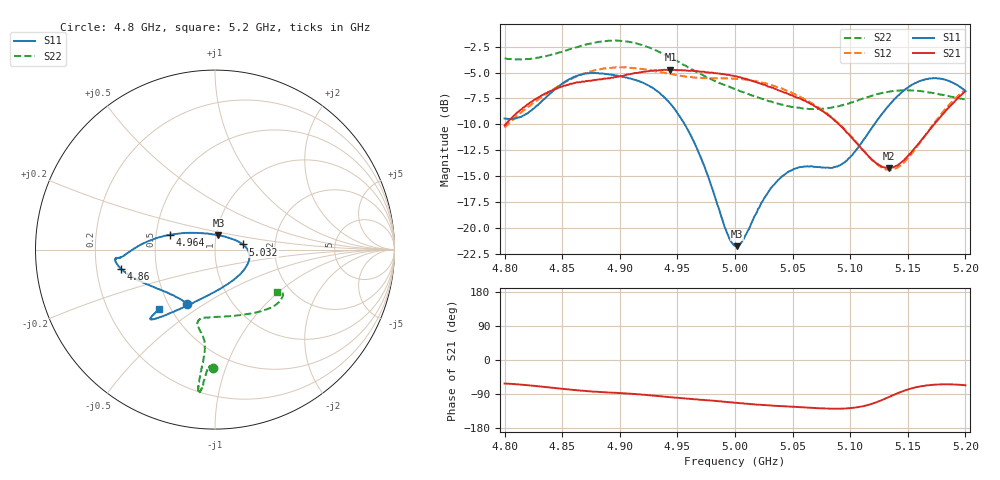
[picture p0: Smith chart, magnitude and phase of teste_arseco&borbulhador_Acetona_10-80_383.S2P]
! Network Analyzer HP8722D
! Hewlett-Packard
! Data name: Linha & Wilkinson
! Saver's name: Rodrigo Anjos
! Comments: Teste da utilização de aquisição
! continua pelo VNA HP8722D
! Time and date: 17/4/2025 17:33
!  Frequency  S11  S21  S12  S22
# HZ  S  MA R 50
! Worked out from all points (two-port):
!   401 points, 4.8 GHz to 5.2 GHz, reference 50 ohm
!   highest |S21| = -4.74 dB at 4.944 GHz (marker M1); lowest = -14.2 dB at 5.134 GHz (marker M2)
!   |S21| within 3 dB of the highest: 4.824 GHz to 5.061 GHz (237.1 MHz wide, 4.8 % of centre); 5.191068 GHz to end of sweep
!   lowest |S11| = -21.7 dB at 5.002 GHz (marker M3), VSWR 1.18, Z = 51.3 + j8.25 ohm
!   |S11| at or under -10 dB: 4.956 GHz to 5.121 GHz (164.5 MHz wide, 3.26 % of centre)
!   |S22| runs from -8.5 to -1.9 dB; largest |S21 - S12| = 0.87
!   S11 on the Smith chart (normalised r, x): 4.8 GHz: 0.62, -0.42; 4.86 GHz: 0.31, -0.09; 4.964 GHz: 0.59, +0.11; 5.032 GHz: 1.37, +0.08; 5.2 GHz: 0.43, -0.36
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4.8e9  0.338 -117.0  0.3133 -62.1  0.3056 -176.2  0.658 -91.0
4.819e9  0.3562 -137.1  0.3913 -66.3  0.3785 -175.6  0.6531 -92.6
4.86e9  0.535 -168.5  0.4996 -78.8  0.5302 -179.0  0.736 -94.9
4.867e9  0.5506 -171.2  0.508 -81.1  0.55 179.8  0.7571 -95.1
4.9e9  0.5396 -175.1  0.5399 -87.2  0.5955 173.7  0.7991 -96.5
4.934e9  0.451 179.2  0.576 -95.4  0.5654 170.4  0.7071 -96.8
4.944e9  0.3977 174.8  0.5793 -98.2  0.5528 170.6  0.6634 -96.4
4.964e9  0.2636 161.7  0.5727 -103.3  0.5325 172.2  0.5766 -95.8
4.975e9  0.1885 150.4  0.5641 -106.1  0.5284 173.5  0.5344 -96.1
4.993e9  0.0955 112.0  0.5479 -110.8  0.5267 174.6  0.4841 -98.2
5e9  0.08245 84.6  0.5391 -112.9  0.5251 174.8  0.4668 -99.7
5.002e9  0.08214 76.3  0.5368 -113.4  0.5235 174.7  0.4637 -100.1
5.032e9  0.1582 10.5  0.4751 -120.2  0.4884 173.4  0.4067 -103.3
5.048e9  0.1891 -4.6  0.4394 -122.9  0.4531 173.0  0.3861 -99.3
5.067e9  0.1986 -24.8  0.3941 -126.3  0.3997 172.8  0.3747 -88.9
5.096e9  0.2099 -75.2  0.294 -127.9  0.2968 175.0  0.3958 -66.6
5.12e9  0.3109 -110.8  0.212 -114.4  0.2106 -169.9  0.4366 -50.3
5.134e9  0.3923 -121.6  0.1952 -97.1  0.1913 -150.8  0.4553 -43.4
5.148e9  0.4678 -127.8  0.2172 -79.8  0.2113 -130.4  0.462 -38.1
5.168e9  0.525 -132.2  0.2931 -66.7  0.2949 -113.0  0.4508 -33.3
5.184e9  0.5159 -133.4  0.3741 -64.3  0.3826 -108.5  0.4346 -32.0
5.2e9  0.458 -133.3  0.4558 -66.6  0.4659 -108.3  0.4167 -34.6
